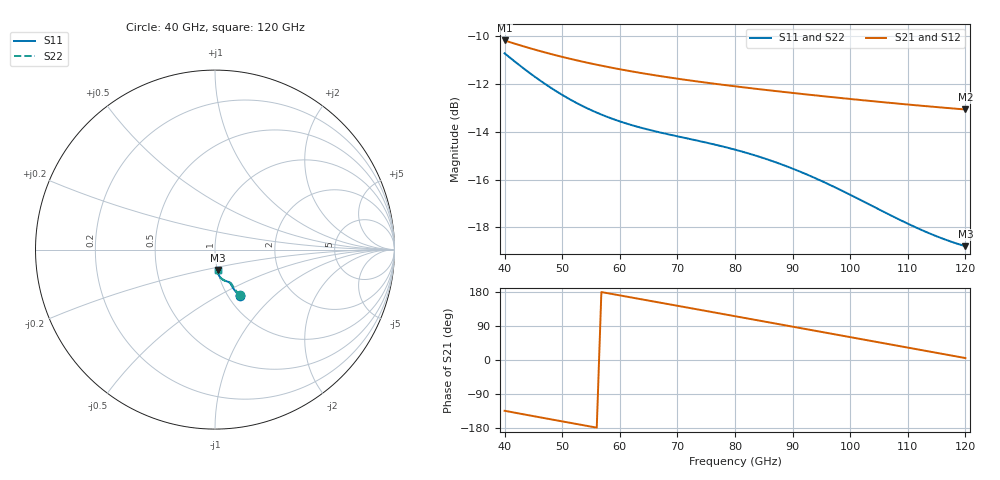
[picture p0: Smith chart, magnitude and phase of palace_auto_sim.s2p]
#  GHZ S DB R 50
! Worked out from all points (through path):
!   101 points, 40 GHz to 120 GHz, reference 50 ohm
!   highest |S21| = -10.18 dB at 40 GHz (marker M1); lowest = -13.1 dB at 120 GHz (marker M2)
!   group delay of S21, straight-line fit = 7.66 ps
!   lowest |S11| = -18.8 dB at 120 GHz (marker M3), VSWR 1.26, Z = 50.5 - j11.6 ohm
!   |S11| at or under -10 dB: start of sweep to end of sweep
!   |S22| runs from -18.8 to -10.7 dB; largest |S21 - S12| = 3.2e-13
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40  -10.72 -61.8  -10.18 -134.0  -10.18 -134.0  -10.73 -61.1
43.2  -11.33 -63.2  -10.42 -143.0  -10.42 -143.0  -11.33 -62.3
46.4  -11.90 -64.1  -10.64 -152.0  -10.64 -152.0  -11.89 -63.2
49.6  -12.40 -64.7  -10.84 -160.9  -10.84 -160.9  -12.38 -63.7
53.6  -12.93 -65.0  -11.07 -171.9  -11.07 -171.9  -12.89 -64.0
56.8  -13.28 -65.2  -11.24 179.3  -11.24 179.3  -13.22 -64.2
60  -13.57 -65.5  -11.39 170.5  -11.39 170.5  -13.49 -64.4
63.2  -13.80 -65.9  -11.52 161.7  -11.52 161.7  -13.71 -64.9
67.2  -14.04 -66.7  -11.68 150.8  -11.68 150.8  -13.94 -65.7
73.6  -14.38 -68.7  -11.90 133.2  -11.90 133.2  -14.26 -67.9
76.8  -14.55 -70.1  -12.00 124.4  -12.00 124.4  -14.43 -69.4
80  -14.75 -71.6  -12.10 115.6  -12.10 115.6  -14.62 -71.0
83.2  -14.97 -73.3  -12.19 106.8  -12.19 106.8  -14.83 -72.8
86.4  -15.22 -74.9  -12.28 97.9  -12.28 97.9  -15.09 -74.6
89.6  -15.50 -76.6  -12.37 89.1  -12.37 89.1  -15.37 -76.3
93.6  -15.90 -78.5  -12.47 78.0  -12.47 78.0  -15.78 -78.4
100  -16.63 -81.0  -12.63 60.4  -12.63 60.4  -16.52 -81.2
104  -17.12 -82.0  -12.72 49.3  -12.72 49.3  -17.03 -82.3
107.2  -17.51 -82.4  -12.80 40.5  -12.80 40.5  -17.43 -82.9
113.6  -18.23 -82.2  -12.94 22.8  -12.94 22.8  -18.20 -83.0
116.8  -18.53 -81.7  -13.00 13.9  -13.00 13.9  -18.53 -82.6
120  -18.78 -81.1  -13.07 5.1  -13.07 5.1  -18.81 -82.1
